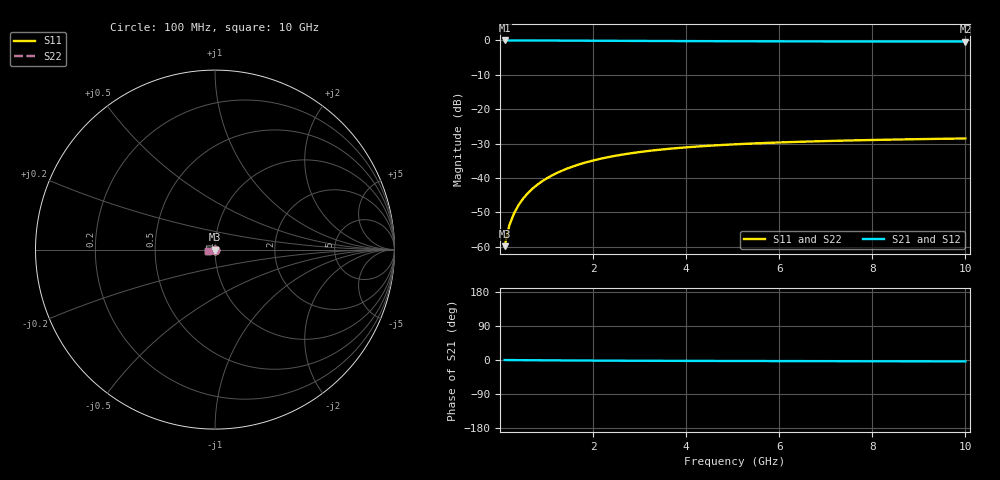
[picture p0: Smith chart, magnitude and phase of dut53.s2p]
! Touchstone file exported from HFSS 2024.1.0
!  File:  C:/UserFiles/LocalFiles/RDL_TSV_Batchsim/temp_TSV1_53_1779372302.aedt
!  Generated:  10:12:15 PM May 21, 2026
!  Design:  TSV1
!  Project:  temp_TSV1_53_1779372302
!  Setup:  Setup1
!  Solution:  Sweep
! Variables:
!  dtsv = 11.83um
!  hbump = 3um
!  htsv = 55.51um
!  lrdl = 252.1521522um
!  p = 40
!  p1 = 46.13um
!  t = 500um
!  trdl = 3um
!  wrdl = 24.89489489um
# GHz S MA R 50.000000
! Terminal data exported
! Port[1] = TSV22_T1
! Port[2] = TSV22_T2
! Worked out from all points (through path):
!   100 points, 100 MHz to 10 GHz, reference 50 ohm
!   highest |S21| = 0.00 dB at 100 MHz (marker M1); lowest = -0.3 dB at 10 GHz (marker M2)
!   lowest |S11| = -59.9 dB at 100 MHz (marker M3), VSWR 1.00, Z = 50 - j0.102 ohm
!   |S11| at or under -10 dB: start of sweep to end of sweep
!   |S22| runs from -59.9 to -28.5 dB; largest |S21 - S12| = 1.1e-14
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0.1  0.001017 -86.9  0.9999 -0.1  0.9999 -0.1  0.001017 -86.9
! Gamma 0 0 0 0
! Port Impedance 50 0 50 0
0.2  0.002027 -90.9  0.9998 -0.2  0.9998 -0.2  0.002027 -90.9
0.3  0.003034 -93.3  0.9996 -0.3  0.9996 -0.3  0.003034 -93.3
0.4  0.004036 -95.4  0.9994 -0.4  0.9994 -0.4  0.004036 -95.4
0.5  0.005029 -97.2  0.9991 -0.5  0.9991 -0.5  0.005029 -97.2
0.6  0.006013 -99.0  0.9988 -0.5  0.9988 -0.5  0.006013 -99.0
0.7  0.006984 -100.7  0.9984 -0.6  0.9984 -0.6  0.006984 -100.7
0.8  0.007942 -102.3  0.998 -0.7  0.998 -0.7  0.007942 -102.3
0.9  0.008885 -104.0  0.9976 -0.8  0.9976 -0.8  0.008885 -104.0
1.1  0.01072 -107.1  0.9965 -1.0  0.9965 -1.0  0.01072 -107.1
1.4  0.01332 -111.5  0.9948 -1.2  0.9948 -1.2  0.01332 -111.5
1.6  0.01494 -114.3  0.9935 -1.3  0.9935 -1.3  0.01494 -114.3
1.8  0.01648 -117.0  0.9922 -1.4  0.9922 -1.4  0.01648 -117.0
2.1  0.0186 -120.9  0.9901 -1.6  0.9901 -1.6  0.0186 -120.9
2.5  0.02112 -125.5  0.9874 -1.8  0.9874 -1.8  0.02112 -125.5
2.9  0.0233 -129.8  0.9849 -2.0  0.9849 -2.0  0.0233 -129.8
3.4  0.0256 -134.5  0.9819 -2.2  0.9819 -2.2  0.0256 -134.5
4.2  0.02852 -141.0  0.9776 -2.4  0.9776 -2.4  0.02852 -141.0
5.1  0.03096 -146.9  0.9737 -2.6  0.9737 -2.6  0.03096 -146.9
6.7  0.03396 -155.1  0.9687 -3.0  0.9687 -3.0  0.03396 -155.1
8.4  0.03608 -161.9  0.965 -3.4  0.965 -3.4  0.03608 -161.9
10  0.03751 -167.1  0.9626 -3.7  0.9626 -3.7  0.03751 -167.1
